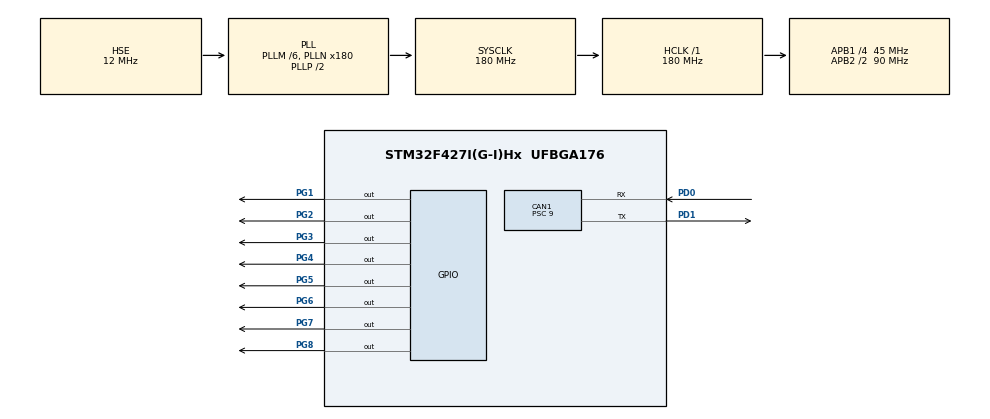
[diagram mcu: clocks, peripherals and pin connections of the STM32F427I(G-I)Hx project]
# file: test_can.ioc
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CAN1.BS1=CAN_BS1_2TQ
CAN1.BS2=CAN_BS2_2TQ
CAN1.CalculateBaudRate=1000000
CAN1.CalculateTimeBit=1000
CAN1.CalculateTimeQuantum=200.0
CAN1.Mode=CAN_MODE_LOOPBACK
CAN1.Prescaler=9
Mcu.Family=STM32F4
Mcu.Name=STM32F427I(G-I)Hx
Mcu.Package=UFBGA176
NVIC.CAN1_RX0_IRQn=true\:0\:0\:false\:false\:true\:true\:true\:true
NVIC.CAN1_RX1_IRQn=true\:0\:0\:false\:false\:true\:true\:true\:true
NVIC.PriorityGroup=NVIC_PRIORITYGROUP_4
PA13.Mode=Serial_Wire
PA13.Signal=SYS_JTMS-SWDIO
PA14.Mode=Serial_Wire
PA14.Signal=SYS_JTCK-SWCLK
PD0.Mode=CAN_Activate
PD0.Signal=CAN1_RX
PD1.Mode=CAN_Activate
PD1.Signal=CAN1_TX
PG1.GPIO_PuPd=GPIO_PULLUP
PG1.PinState=GPIO_PIN_SET
PG1.Signal=GPIO_Output
PG2.GPIO_PuPd=GPIO_PULLUP
PG2.PinState=GPIO_PIN_SET
PG2.Signal=GPIO_Output
PG3.GPIO_PuPd=GPIO_PULLUP
PG3.PinState=GPIO_PIN_SET
PG3.Signal=GPIO_Output
PG4.GPIO_PuPd=GPIO_PULLUP
PG4.PinState=GPIO_PIN_SET
PG4.Signal=GPIO_Output
PG5.GPIO_PuPd=GPIO_PULLUP
PG5.PinState=GPIO_PIN_SET
PG5.Signal=GPIO_Output
PG6.GPIO_PuPd=GPIO_PULLUP
PG6.PinState=GPIO_PIN_SET
PG6.Signal=GPIO_Output
PG7.GPIO_PuPd=GPIO_PULLUP
PG7.PinState=GPIO_PIN_SET
PG7.Signal=GPIO_Output
PG8.GPIO_PuPd=GPIO_PULLUP
PG8.PinState=GPIO_PIN_SET
PG8.Signal=GPIO_Output
PH0/OSC_IN.Mode=HSE-External-Oscillator
PH0/OSC_IN.Signal=RCC_OSC_IN
PH1/OSC_OUT.Mode=HSE-External-Oscillator
PH1/OSC_OUT.Signal=RCC_OSC_OUT
ProjectManager.HeapSize=0x200
ProjectManager.StackSize=0x400
ProjectManager.TargetToolchain=MDK-ARM V5.32
RCC.48MHZClocksFreq_Value=90000000
RCC.AHBFreq_Value=180000000
RCC.APB1CLKDivider=RCC_HCLK_DIV4
RCC.APB1Freq_Value=45000000
RCC.APB1TimFreq_Value=90000000
RCC.APB2CLKDivider=RCC_HCLK_DIV2
RCC.APB2Freq_Value=90000000
RCC.APB2TimFreq_Value=180000000
RCC.CortexFreq_Value=180000000
RCC.HCLKFreq_Value=180000000
RCC.HSE_VALUE=12000000
RCC.HSI_VALUE=16000000
RCC.LSE_VALUE=32768
RCC.PLLM=6
RCC.PLLN=180
RCC.PLLSourceVirtual=RCC_PLLSOURCE_HSE
RCC.SYSCLKFreq_VALUE=180000000
RCC.SYSCLKSource=RCC_SYSCLKSOURCE_PLLCLK
RCC.VCOOutputFreq_Value=360000000
board=custom

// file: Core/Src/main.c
/* USER CODE BEGIN Header */
/**
 ******************************************************************************
 * @file           : main.c
 * @brief          : Main program body
 ******************************************************************************
 * @attention
 *
 * Copyright (c) 2023 STMicroelectronics.
 * All rights reserved.
 *
 * This software is licensed under terms that can be found in the LICENSE file
 * in the root directory of this software component.
 * If no LICENSE file comes with this software, it is provided AS-IS.
 *
 ******************************************************************************
 */
/* USER CODE END Header */
#include "main.h"
#include "can.h"
#include "gpio.h"

/* USER CODE BEGIN PM */

// 滤波器编号
#define CAN_FILTER(x) ((x) << 3)

// 接收队列
#define CAN_FIFO_0 (0 << 2)
#define CAN_FIFO_1 (1 << 2)

// 标准帧或扩展帧
#define CAN_STDID (0 << 1)
#define CAN_EXTID (1 << 1)

// 数据帧或遥控帧
#define CAN_DATA_TYPE (0 << 0)
#define CAN_REMOTE_TYPE (1 << 0)

/* USER CODE END PM */

void SystemClock_Config(void);

/* USER CODE BEGIN 0 */

/**
 * @brief 初始化CAN总线
 *
 * @param hcan CAN编号
 * @param Callback_Function 处理回调函数
 */
void CAN_Init(CAN_HandleTypeDef *hcan)
{
  HAL_CAN_Start(hcan);
  __HAL_CAN_ENABLE_IT(hcan, CAN_IT_RX_FIFO0_MSG_PENDING);
  __HAL_CAN_ENABLE_IT(hcan, CAN_IT_RX_FIFO1_MSG_PENDING);
}

/**
 * @brief 配置CAN的滤波器
 *
 * @param hcan CAN编号
 * @param Object_Para 编号 | FIFOx | ID类型 | 帧类型
 * @param ID ID
 * @param Mask_ID 屏蔽位(0x3ff, 0x1fffffff)
 */
void CAN_Filter_Mask_Config(CAN_HandleTypeDef *hcan, uint8_t Object_Para, uint32_t ID, uint32_t Mask_ID)
{
  CAN_FilterTypeDef can_filter_init_structure;

  // 检测关键传参
  assert_param(hcan != NULL);

  if ((Object_Para & 0x02))
  {
    // 数据帧
    // 掩码后ID的高16bit
    can_filter_init_structure.FilterIdHigh = ID << 3 << 16;
    // 掩码后ID的低16bit
    can_filter_init_structure.FilterIdLow = ID << 3 | ((Object_Para & 0x03) << 1);
    // ID掩码值高16bit
    can_filter_init_structure.FilterMaskIdHigh = Mask_ID << 3 << 16;
    // ID掩码值低16bit
    can_filter_init_structure.FilterMaskIdLow = Mask_ID << 3 | ((Object_Para & 0x03) << 1);
  }
  else
  {
    // 遥控帧
    // 掩码后ID的高16bit
    can_filter_init_structure.FilterIdHigh = ID << 5;
    // 掩码后ID的低16bit
    can_filter_init_structure.FilterIdLow = ((Object_Para & 0x03) << 1);
    // ID掩码值高16bit
    can_filter_init_structure.FilterMaskIdHigh = Mask_ID << 5;
    // ID掩码值低16bit
    can_filter_init_structure.FilterMaskIdLow = ((Object_Para & 0x03) << 1);
  }

  // 滤波器序号, 0-27, 共28个滤波器, can1是0~13, can2是14~27
  can_filter_init_structure.FilterBank = Object_Para >> 3;
  // 滤波器绑定FIFOx, 只能绑定一个
  can_filter_init_structure.FilterFIFOAssignment = (Object_Para >> 2) & 0x01;
  // 使能滤波器
  can_filter_init_structure.FilterActivation = ENABLE;
  // 滤波器模式, 设置ID掩码模式
  can_filter_init_structure.FilterMode = CAN_FILTERMODE_IDMASK;
  // 32位滤波
  can_filter_init_structure.FilterScale = CAN_FILTERSCALE_32BIT;
  // 从机模式选择开始单元
  can_filter_init_structure.SlaveStartFilterBank = 14;

  HAL_CAN_ConfigFilter(hcan, &can_filter_init_structure);
}

/**
 * @brief 发送数据帧
 *
 * @param hcan CAN编号
 * @param ID ID
 * @param Data 被发送的数据指针
 * @param Length 长度
 * @return uint8_t 执行状态
 */
uint8_t CAN_Send_Data(CAN_HandleTypeDef *hcan, uint16_t ID, uint8_t *Data, uint16_t Length)
{
  CAN_TxHeaderTypeDef tx_header;
  uint32_t used_mailbox;

  // 检测关键传参
  assert_param(hcan != NULL);

  tx_header.StdId = ID;
  tx_header.ExtId = 0;
  tx_header.IDE = 0;
  tx_header.RTR = 0;
  tx_header.DLC = Length;

  return (HAL_CAN_AddTxMessage(hcan, &tx_header, Data, &used_mailbox));
}

/**
 * @brief 点灯
 *
 * @param data 收到的数据
 */
void LED_Control(uint8_t data)
{
  HAL_GPIO_WritePin(GPIOG, GPIO_PIN_1, ((data & 1) == 0) ? GPIO_PIN_SET : GPIO_PIN_RESET);
  HAL_GPIO_WritePin(GPIOG, GPIO_PIN_2, ((data & 2) == 0) ? GPIO_PIN_SET : GPIO_PIN_RESET);
  HAL_GPIO_WritePin(GPIOG, GPIO_PIN_3, ((data & 4) == 0) ? GPIO_PIN_SET : GPIO_PIN_RESET);
  HAL_GPIO_WritePin(GPIOG, GPIO_PIN_4, ((data & 8) == 0) ? GPIO_PIN_SET : GPIO_PIN_RESET);
  HAL_GPIO_WritePin(GPIOG, GPIO_PIN_5, ((data & 16) == 0) ? GPIO_PIN_SET : GPIO_PIN_RESET);
  HAL_GPIO_WritePin(GPIOG, GPIO_PIN_6, ((data & 32) == 0) ? GPIO_PIN_SET : GPIO_PIN_RESET);
  HAL_GPIO_WritePin(GPIOG, GPIO_PIN_7, ((data & 64) == 0) ? GPIO_PIN_SET : GPIO_PIN_RESET);
  HAL_GPIO_WritePin(GPIOG, GPIO_PIN_8, ((data & 128) == 0) ? GPIO_PIN_SET : GPIO_PIN_RESET);
}

/**
 * @brief HAL库CAN接收FIFO1中断
 *
 * @param hcan CAN编号
 */
void HAL_CAN_RxFifo1MsgPendingCallback(CAN_HandleTypeDef *hcan)
{
  CAN_RxHeaderTypeDef header;
  uint8_t data;

  HAL_CAN_GetRxMessage(hcan, CAN_FILTER_FIFO1, &header, &data);

  LED_Control(data);
}

/* USER CODE END 0 */

int main(void)
{

  /* MCU Configuration--------------------------------------------------------*/

  /* Reset of all peripherals, Initializes the Flash interface and the Systick. */
  HAL_Init();

  /* Configure the system clock */
  SystemClock_Config();

  /* Initialize all configured peripherals */
  MX_GPIO_Init();
  MX_CAN1_Init();
  /* USER CODE BEGIN 2 */

  uint8_t Send_Data = 0;

  CAN_Init(&hcan1);
  CAN_Filter_Mask_Config(&hcan1, CAN_FILTER(13) | CAN_FIFO_1 | CAN_STDID | CAN_DATA_TYPE, 0x114, 0x7ff);

  /* USER CODE END 2 */

  /* Infinite loop */
  /* USER CODE BEGIN WHILE */
  while (1)
  {
    Send_Data++;
    CAN_Send_Data(&hcan1, 0x114, &Send_Data, 1);
    /* USER CODE END WHILE */

    /* USER CODE BEGIN 3 */
    HAL_Delay(250);
  }
  /* USER CODE END 3 */
}

void SystemClock_Config(void)
{
  RCC_OscInitTypeDef RCC_OscInitStruct = {0};
  RCC_ClkInitTypeDef RCC_ClkInitStruct = {0};

  /** Configure the main internal regulator output voltage
   */
  __HAL_RCC_PWR_CLK_ENABLE();
  __HAL_PWR_VOLTAGESCALING_CONFIG(PWR_REGULATOR_VOLTAGE_SCALE1);

  /** Initializes the RCC Oscillators according to the specified parameters
   * in the RCC_OscInitTypeDef structure.
   */
  RCC_OscInitStruct.OscillatorType = RCC_OSCILLATORTYPE_HSE;
  RCC_OscInitStruct.HSEState = RCC_HSE_ON;
  RCC_OscInitStruct.PLL.PLLState = RCC_PLL_ON;
  RCC_OscInitStruct.PLL.PLLSource = RCC_PLLSOURCE_HSE;
  RCC_OscInitStruct.PLL.PLLM = 6;
  RCC_OscInitStruct.PLL.PLLN = 180;
  RCC_OscInitStruct.PLL.PLLP = RCC_PLLP_DIV2;
  RCC_OscInitStruct.PLL.PLLQ = 4;
  if (HAL_RCC_OscConfig(&RCC_OscInitStruct) != HAL_OK)
  {
    Error_Handler();
  }

  /** Activate the Over-Drive mode
   */
  if (HAL_PWREx_EnableOverDrive() != HAL_OK)
  {
    Error_Handler();
  }

  /** Initializes the CPU, AHB and APB buses clocks
   */
  RCC_ClkInitStruct.ClockType = RCC_CLOCKTYPE_HCLK | RCC_CLOCKTYPE_SYSCLK | RCC_CLOCKTYPE_PCLK1 | RCC_CLOCKTYPE_PCLK2;
  RCC_ClkInitStruct.SYSCLKSource = RCC_SYSCLKSOURCE_PLLCLK;
  RCC_ClkInitStruct.AHBCLKDivider = RCC_SYSCLK_DIV1;
  RCC_ClkInitStruct.APB1CLKDivider = RCC_HCLK_DIV4;
  RCC_ClkInitStruct.APB2CLKDivider = RCC_HCLK_DIV2;

  if (HAL_RCC_ClockConfig(&RCC_ClkInitStruct, FLASH_LATENCY_5) != HAL_OK)
  {
    Error_Handler();
  }
}

void Error_Handler(void)
{
  __disable_irq();
  while (1)
  {
  }
}
